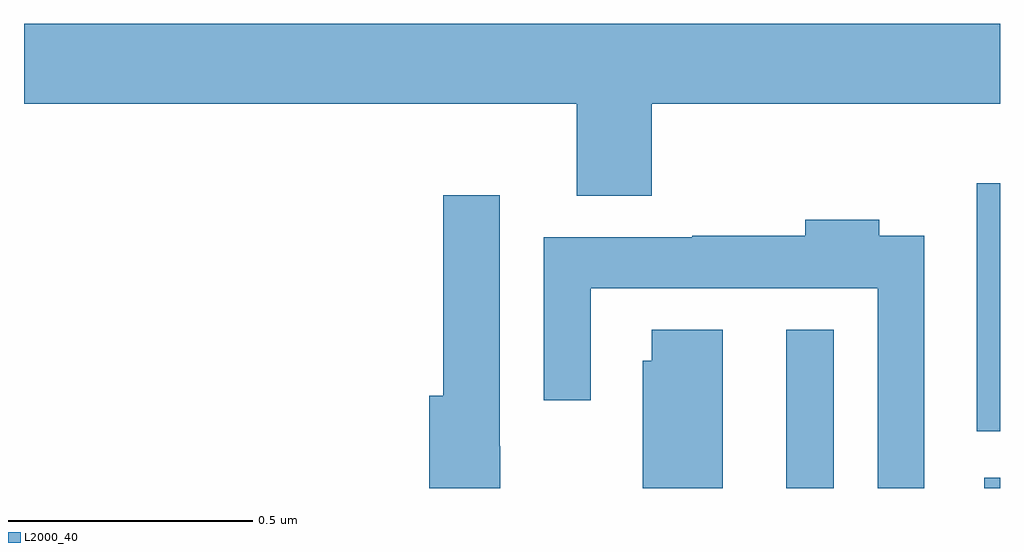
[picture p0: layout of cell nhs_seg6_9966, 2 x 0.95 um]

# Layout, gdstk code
import gdstk
lib = gdstk.Library(unit=1e-6, precision=1e-09)
def R(c, l, rs):  # rectangles x0, y0, x1, y1
    for r in rs: c.add(gdstk.rectangle(r[:2], r[2:], *l))
def P(c, l, *ps):  # polygons
    for p in ps: c.add(gdstk.Polygon(p, *l))
L2000_40 = (2000, 40)

nhs_seg6_9966 = lib.new_cell('nhs_seg6_9966')
R(nhs_seg6_9966, L2000_40, [(241.562,994.5,241.659,994.825), (241.968,994.5,242,994.522), (241.952,994.617,242,995.125)])
P(nhs_seg6_9966, L2000_40, [(241.286,995.288),(242,995.288),(242,995.452),(240,995.452),(240,995.288),(241.133,995.288),(241.133,995.099),(241.286,995.099)],
  [(240.976,994.586),(240.975,994.586),(240.975,995.101),(240.859,995.101),(240.859,994.69),(240.83,994.69),(240.83,994.5),(240.976,994.5)],
  [(241.845,995.017),(241.753,995.017),(241.753,995.05),(241.601,995.05),(241.601,995.017),(241.369,995.017),(241.369,995.014),(241.065,995.014),(241.065,994.68),(241.161,994.68),(241.161,994.91),(241.749,994.91),(241.749,994.5),(241.845,994.5)],
  [(241.432,994.825),(241.286,994.825),(241.286,994.761),(241.268,994.761),(241.268,994.5),(241.432,994.5)])

lib.write_gds('nhs_seg6_9966.gds')
